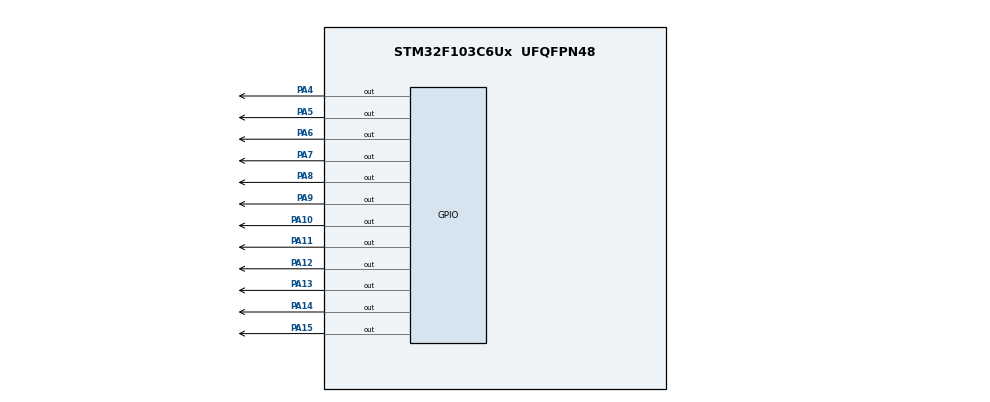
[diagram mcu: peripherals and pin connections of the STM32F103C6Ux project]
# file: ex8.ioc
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Mcu.Family=STM32F1
Mcu.Name=STM32F103C6Ux
Mcu.Package=UFQFPN48
NVIC.PriorityGroup=NVIC_PRIORITYGROUP_4
PA10.Signal=GPIO_Output
PA11.Signal=GPIO_Output
PA12.Signal=GPIO_Output
PA13.Signal=GPIO_Output
PA14.Signal=GPIO_Output
PA15.Signal=GPIO_Output
PA4.Signal=GPIO_Output
PA5.Signal=GPIO_Output
PA6.Signal=GPIO_Output
PA7.Signal=GPIO_Output
PA8.Signal=GPIO_Output
PA9.Signal=GPIO_Output
ProjectManager.HeapSize=0x200
ProjectManager.StackSize=0x400
ProjectManager.TargetToolchain=STM32CubeIDE
RCC.APB1Freq_Value=8000000
RCC.APB2Freq_Value=8000000
board=custom

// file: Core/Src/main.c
/* USER CODE BEGIN Header */
/**
  ******************************************************************************
  * @file           : main.c
  * @brief          : Main program body
  ******************************************************************************
  * @attention
  *
  * Copyright (c) 2022 STMicroelectronics.
  * All rights reserved.
  *
  * This software is licensed under terms that can be found in the LICENSE file
  * in the root directory of this software component.
  * If no LICENSE file comes with this software, it is provided AS-IS.
  *
  ******************************************************************************
  */
/* USER CODE END Header */
#include "main.h"

void SystemClock_Config(void);
static void MX_GPIO_Init(void);

/* USER CODE BEGIN 0 */
void setNumberOnClock(int num){
	HAL_GPIO_WritePin(GPIOA, GPIO_PIN_4|GPIO_PIN_5|GPIO_PIN_6|GPIO_PIN_7|GPIO_PIN_8|GPIO_PIN_9|GPIO_PIN_10|GPIO_PIN_11|GPIO_PIN_12|GPIO_PIN_13|GPIO_PIN_14|GPIO_PIN_15, SET);
	switch(num) {
	case 0:{
		HAL_GPIO_WritePin(GPIOA, GPIO_PIN_4, RESET);
		HAL_Delay(500);
		break;
	}
	case 1:{
		HAL_GPIO_WritePin(GPIOA, GPIO_PIN_5, RESET);
		HAL_Delay(500);
		break;
	}
	case 2:{
			HAL_GPIO_WritePin(GPIOA, GPIO_PIN_6, RESET);
			HAL_Delay(500);
			break;
	}
	case 3:{
				HAL_GPIO_WritePin(GPIOA, GPIO_PIN_7, RESET);
				HAL_Delay(500);
				break;
		}
	case 4:{
				HAL_GPIO_WritePin(GPIOA, GPIO_PIN_8, RESET);
				HAL_Delay(500);
				break;
		}
	case 5:{
				HAL_GPIO_WritePin(GPIOA, GPIO_PIN_9, RESET);
				HAL_Delay(500);
				break;
		}
	case 6:{
				HAL_GPIO_WritePin(GPIOA, GPIO_PIN_10, RESET);
				HAL_Delay(500);
				break;
		}
	case 7:{
				HAL_GPIO_WritePin(GPIOA, GPIO_PIN_11, RESET);
				HAL_Delay(500);
				break;
		}
	case 8:{
				HAL_GPIO_WritePin(GPIOA, GPIO_PIN_12, RESET);
				HAL_Delay(500);
				break;
		}
	case 9:{
				HAL_GPIO_WritePin(GPIOA, GPIO_PIN_13, RESET);
				HAL_Delay(500);
				break;
		}
	case 10:{
				HAL_GPIO_WritePin(GPIOA, GPIO_PIN_14, RESET);
				HAL_Delay(500);
				break;
		}
	case 11:{
				HAL_GPIO_WritePin(GPIOA, GPIO_PIN_15, RESET);
				HAL_Delay(500);
				break;
		}
	default:{break;}
}
}

/* USER CODE END 0 */

int main(void)
{
  /* USER CODE BEGIN 1 */
	setNumberOnClock(4);
  /* USER CODE END 1 */

  /* MCU Configuration--------------------------------------------------------*/

  /* Reset of all peripherals, Initializes the Flash interface and the Systick. */
  HAL_Init();

  /* Configure the system clock */
  SystemClock_Config();

  /* Initialize all configured peripherals */
  MX_GPIO_Init();

  /* Infinite loop */
  while (1)
  {

  }
}

void SystemClock_Config(void)
{
  RCC_OscInitTypeDef RCC_OscInitStruct = {0};
  RCC_ClkInitTypeDef RCC_ClkInitStruct = {0};

  /** Initializes the RCC Oscillators according to the specified parameters
  * in the RCC_OscInitTypeDef structure.
  */
  RCC_OscInitStruct.OscillatorType = RCC_OSCILLATORTYPE_HSI;
  RCC_OscInitStruct.HSIState = RCC_HSI_ON;
  RCC_OscInitStruct.HSICalibrationValue = RCC_HSICALIBRATION_DEFAULT;
  RCC_OscInitStruct.PLL.PLLState = RCC_PLL_NONE;
  if (HAL_RCC_OscConfig(&RCC_OscInitStruct) != HAL_OK)
  {
    Error_Handler();
  }

  /** Initializes the CPU, AHB and APB buses clocks
  */
  RCC_ClkInitStruct.ClockType = RCC_CLOCKTYPE_HCLK|RCC_CLOCKTYPE_SYSCLK
                              |RCC_CLOCKTYPE_PCLK1|RCC_CLOCKTYPE_PCLK2;
  RCC_ClkInitStruct.SYSCLKSource = RCC_SYSCLKSOURCE_HSI;
  RCC_ClkInitStruct.AHBCLKDivider = RCC_SYSCLK_DIV1;
  RCC_ClkInitStruct.APB1CLKDivider = RCC_HCLK_DIV1;
  RCC_ClkInitStruct.APB2CLKDivider = RCC_HCLK_DIV1;

  if (HAL_RCC_ClockConfig(&RCC_ClkInitStruct, FLASH_LATENCY_0) != HAL_OK)
  {
    Error_Handler();
  }
}

static void MX_GPIO_Init(void)
{
  GPIO_InitTypeDef GPIO_InitStruct = {0};

  /* GPIO Ports Clock Enable */
  __HAL_RCC_GPIOA_CLK_ENABLE();

  /*Configure GPIO pin Output Level */
  HAL_GPIO_WritePin(GPIOA, GPIO_PIN_4|GPIO_PIN_5|GPIO_PIN_6|GPIO_PIN_7
                          |GPIO_PIN_8|GPIO_PIN_9|GPIO_PIN_10|GPIO_PIN_11
                          |GPIO_PIN_12|GPIO_PIN_13|GPIO_PIN_14|GPIO_PIN_15, GPIO_PIN_RESET);

  /*Configure GPIO pins : PA4 PA5 PA6 PA7
                           PA8 PA9 PA10 PA11
                           PA12 PA13 PA14 PA15 */
  GPIO_InitStruct.Pin = GPIO_PIN_4|GPIO_PIN_5|GPIO_PIN_6|GPIO_PIN_7
                          |GPIO_PIN_8|GPIO_PIN_9|GPIO_PIN_10|GPIO_PIN_11
                          |GPIO_PIN_12|GPIO_PIN_13|GPIO_PIN_14|GPIO_PIN_15;
  GPIO_InitStruct.Mode = GPIO_MODE_OUTPUT_PP;
  GPIO_InitStruct.Pull = GPIO_NOPULL;
  GPIO_InitStruct.Speed = GPIO_SPEED_FREQ_LOW;
  HAL_GPIO_Init(GPIOA, &GPIO_InitStruct);

}

void Error_Handler(void)
{
  __disable_irq();
  while (1)
  {
  }
}
